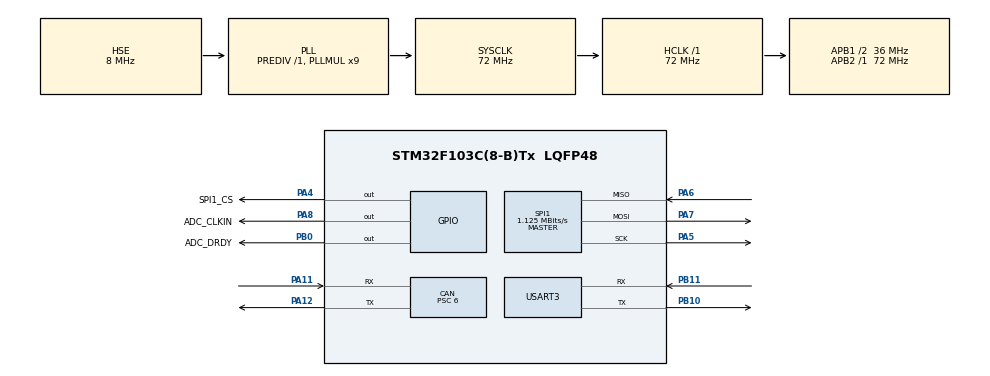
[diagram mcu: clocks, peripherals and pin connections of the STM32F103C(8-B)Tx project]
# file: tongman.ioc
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CAN.BS1=CAN_BS1_9TQ
CAN.BS2=CAN_BS2_2TQ
CAN.CalculateBaudRate=499999
CAN.CalculateTimeBit=2000
CAN.CalculateTimeQuantum=166.66666666666669
CAN.Prescaler=6
Mcu.Family=STM32F1
Mcu.Name=STM32F103C(8-B)Tx
Mcu.Package=LQFP48
NVIC.PriorityGroup=NVIC_PRIORITYGROUP_4
NVIC.TIM2_IRQn=true\:0\:0\:false\:false\:true\:true\:true\:true
NVIC.USB_LP_CAN1_RX0_IRQn=true\:0\:0\:false\:false\:true\:true\:true\:true
PA11.Mode=CAN_Activate
PA11.Signal=CAN_RX
PA12.Mode=CAN_Activate
PA12.Signal=CAN_TX
PA13.Mode=Serial_Wire
PA13.Signal=SYS_JTMS-SWDIO
PA14.Mode=Serial_Wire
PA14.Signal=SYS_JTCK-SWCLK
PA4.GPIO_Label=SPI1_CS
PA4.GPIO_Speed=GPIO_SPEED_FREQ_HIGH
PA4.Signal=GPIO_Output
PA5.Mode=Full_Duplex_Master
PA5.Signal=SPI1_SCK
PA6.Mode=Full_Duplex_Master
PA6.Signal=SPI1_MISO
PA7.Mode=Full_Duplex_Master
PA7.Signal=SPI1_MOSI
PA8.GPIO_Label=ADC_CLKIN
PA8.GPIO_Speed=GPIO_SPEED_FREQ_HIGH
PA8.Signal=GPIO_Output
PB0.GPIO_Label=ADC_DRDY
PB0.GPIO_Speed=GPIO_SPEED_FREQ_HIGH
PB0.Signal=GPIO_Output
PB10.Mode=Asynchronous
PB10.Signal=USART3_TX
PB11.Mode=Asynchronous
PB11.Signal=USART3_RX
PD0-OSC_IN.Mode=HSE-External-Oscillator
PD0-OSC_IN.Signal=RCC_OSC_IN
PD1-OSC_OUT.Mode=HSE-External-Oscillator
PD1-OSC_OUT.Signal=RCC_OSC_OUT
ProjectManager.HeapSize=0x200
ProjectManager.StackSize=0x400
ProjectManager.TargetToolchain=STM32CubeIDE
RCC.AHBFreq_Value=72000000
RCC.APB1CLKDivider=RCC_HCLK_DIV2
RCC.APB1Freq_Value=36000000
RCC.APB1TimFreq_Value=72000000
RCC.APB2Freq_Value=72000000
RCC.APB2TimFreq_Value=72000000
RCC.HCLKFreq_Value=72000000
RCC.PLLMUL=RCC_PLL_MUL9
RCC.PLLSourceVirtual=RCC_PLLSOURCE_HSE
RCC.SYSCLKFreq_VALUE=72000000
RCC.SYSCLKSource=RCC_SYSCLKSOURCE_PLLCLK
RCC.USBFreq_Value=72000000
SPI1.BaudRatePrescaler=SPI_BAUDRATEPRESCALER_64
SPI1.CLKPhase=SPI_PHASE_2EDGE
SPI1.CLKPolarity=SPI_POLARITY_HIGH
SPI1.CalculateBaudRate=1.125 MBits/s
SPI1.Direction=SPI_DIRECTION_2LINES
SPI1.Mode=SPI_MODE_MASTER
SPI1.VirtualType=VM_MASTER
TIM2.Period=1000-1
TIM2.Prescaler=72-1
USART3.VirtualMode=VM_ASYNC
VP_TIM2_VS_ClockSourceINT.Mode=Internal
board=custom

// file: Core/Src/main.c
/* USER CODE BEGIN Header */
/**
  ******************************************************************************
  * @file           : main.c
  * @brief          : Main program body
  ******************************************************************************
  * @attention
  *
  * Copyright (c) 2025 STMicroelectronics.
  * All rights reserved.
  *
  * This software is licensed under terms that can be found in the LICENSE file
  * in the root directory of this software component.
  * If no LICENSE file comes with this software, it is provided AS-IS.
  *
  ******************************************************************************
  */
/* USER CODE END Header */
#include "main.h"
#include "can.h"
#include "spi.h"
#include "tim.h"
#include "usart.h"
#include "gpio.h"

/* USER CODE BEGIN Includes */
#include "lha7668.h"
#include "filter.h"
#include "flash.h"
#include "function.h"

/* USER CODE END Includes */

/* USER CODE BEGIN PD */
#define ADC_SAMPLING_RATE   3

#define APPINFO_VERSION (uint8_t*)"v0.1.2"
#define APPINFO_BUILD_DATE (uint8_t*)"2026-04-29"

/* USER CODE END PD */

/* USER CODE BEGIN PV */
lhl_lha7668_ctx_t lha7668_ctx = { }; // LHA7668驱动句柄

/* Being externally cited variables */
uint8_t data_flag = 0;
uint8_t rev_data[29] = { 0 };

/* USER CODE END PV */

void SystemClock_Config(void);

/* USER CODE BEGIN 0 */
void LHA7668_Platform_Init(void *handle)
{
  lhl_lha7668_ctx_t *dev_ctx = (lhl_lha7668_ctx_t *)handle;
  dev_ctx->io.cs.port = GPIOA;
  dev_ctx->io.cs.pin = GPIO_PIN_4;
}

void LHA7668_Platform_Set(const void *port, const uint32_t pin)
{
  HAL_GPIO_WritePin((GPIO_TypeDef *)port, pin, GPIO_PIN_SET);
}

void LHA7668_Platform_Reset(const void *port, const uint32_t pin)
{
  HAL_GPIO_WritePin((GPIO_TypeDef *)port, pin, GPIO_PIN_RESET);
}

int32_t LHA7668_Platform_ReadWrite(uint8_t *txdata, uint8_t *rxdata, const uint16_t size)
{
  HAL_SPI_TransmitReceive(&hspi1, txdata, rxdata, size, 0xFFFF);

  return 0;
}

float adcData(void)
{
    LHL_LHA7668_Start(&lha7668_ctx, LHA7668_MODE_SINGLE_SHOT);

    while (LHL_LHA7668_Get_Flag(&lha7668_ctx, LHA7668_STATUS_RDY_FLAG) == LHA7668_SET);

    LHL_LHA7668_Get_Data(&lha7668_ctx);

    return LHL_LHA7668_Get_mVoltage(lha7668_ctx.data, LHA7668_BIPOLAR, LHA7668_PGA_X128, 2500);
}

void lha7668_init(uint8_t rate)
{
    LHL_LHA7668_Init(&lha7668_ctx);
    LHL_LHA7668_Reset(&lha7668_ctx);

    uint8_t whoamI = LHL_LHA7668_Get_ID(&lha7668_ctx);
    if (whoamI != LHA7668B_8) {
        printf("Equipment error!\n");
        while(1) {
        }
    }

    LHL_LHA7668_Stop(&lha7668_ctx);

    lha7668_ctx.CHANNEL.ENABLE = LHA7668_ENABLE;
    lha7668_ctx.CHANNEL.SETUP = LHA7668_SETUP_0;
    lha7668_ctx.CHANNEL.AINP = LHA7668_AIN0;
    lha7668_ctx.CHANNEL.AINM = LHA7668_AIN1;
    LHL_LHA7668_Set_Channel(&lha7668_ctx, LHA7668_CHANNEL_0);
    lha7668_ctx.CHANNEL.ENABLE = LHA7668_ENABLE;
    lha7668_ctx.CHANNEL.SETUP = LHA7668_SETUP_0;
    lha7668_ctx.CHANNEL.AINP = LHA7668_AIN2;
    lha7668_ctx.CHANNEL.AINM = LHA7668_AIN3;
    LHL_LHA7668_Set_Channel(&lha7668_ctx, LHA7668_CHANNEL_1);
    lha7668_ctx.CHANNEL.ENABLE = LHA7668_ENABLE;
    lha7668_ctx.CHANNEL.SETUP = LHA7668_SETUP_0;
    lha7668_ctx.CHANNEL.AINP = LHA7668_AIN4;
    lha7668_ctx.CHANNEL.AINM = LHA7668_AIN5;
    LHL_LHA7668_Set_Channel(&lha7668_ctx, LHA7668_CHANNEL_2);

    lha7668_ctx.SETUP.BIPOLAR = LHA7668_BIPOLAR;
    lha7668_ctx.SETUP.AIN_BUFP = LHA7668_ENABLE;
    lha7668_ctx.SETUP.AIN_BUFM = LHA7668_ENABLE;
    lha7668_ctx.SETUP.REF_SEL = LHA7668_REF_REFIN1;
    lha7668_ctx.SETUP.REF_BUFP = LHA7668_DISABLE;
    lha7668_ctx.SETUP.REF_BUFM = LHA7668_DISABLE;
    lha7668_ctx.SETUP.PGA = LHA7668_PGA_X128;
    lha7668_ctx.SETUP.FILTER = LHA7668_FILTER_SINC3;
    lha7668_ctx.SETUP.FS = rate;
    LHL_LHA7668_Set_Setup(&lha7668_ctx, LHA7668_SETUP_0);
    LHL_LHA7668_Set_Setup(&lha7668_ctx, LHA7668_SETUP_1);
    LHL_LHA7668_Set_Setup(&lha7668_ctx, LHA7668_SETUP_2);
    lha7668_ctx.ADC_CTRL.POWER_MODE = LHA7668_FULL_POWER;
    lha7668_ctx.ADC_CTRL.CLK_SEL = LHA7668_CLK_INTL;
    lha7668_ctx.ADC_CTRL.DATA_STATUS = LHA7668_ENABLE;
    lha7668_ctx.ADC_CTRL.CS_EN = LHA7668_DISABLE;
    lha7668_ctx.ADC_CTRL.DOUT_RDY_DEL = LHA7668_DISABLE;
    LHL_LHA7668_Set_ADC(&lha7668_ctx);
}

/* USER CODE END 0 */

int main(void)
{

  /* MCU Configuration--------------------------------------------------------*/

  /* Reset of all peripherals, Initializes the Flash interface and the Systick. */
  HAL_Init();

  /* Configure the system clock */
  SystemClock_Config();

  /* Initialize all configured peripherals */
  MX_GPIO_Init();
  MX_TIM2_Init();
  MX_SPI1_Init();
  MX_CAN_Init();
  MX_USART3_UART_Init();
  /* USER CODE BEGIN 2 */

    lha7668_init(ADC_SAMPLING_RATE);
    FloatFilter_Init();
    configure_CAN_filter();
    CAN_Wheel_Init();
    HAL_CAN_Start(&hcan);
    HAL_CAN_ActivateNotification(&hcan, CAN_IT_RX_FIFO0_MSG_PENDING); //开启接收中断
    HAL_TIM_Base_Start_IT(&htim2);

    zero_clearing();

  /* USER CODE END 2 */

  /* Infinite loop */
  /* USER CODE BEGIN WHILE */
    while (1) {
    	send_ret();
    	HAL_Delay(500);
    /* USER CODE END WHILE */

    }
}

void SystemClock_Config(void)
{
  RCC_OscInitTypeDef RCC_OscInitStruct = {0};
  RCC_ClkInitTypeDef RCC_ClkInitStruct = {0};

  /** Initializes the RCC Oscillators according to the specified parameters
  * in the RCC_OscInitTypeDef structure.
  */
  RCC_OscInitStruct.OscillatorType = RCC_OSCILLATORTYPE_HSE;
  RCC_OscInitStruct.HSEState = RCC_HSE_ON;
  RCC_OscInitStruct.HSEPredivValue = RCC_HSE_PREDIV_DIV1;
  RCC_OscInitStruct.HSIState = RCC_HSI_ON;
  RCC_OscInitStruct.PLL.PLLState = RCC_PLL_ON;
  RCC_OscInitStruct.PLL.PLLSource = RCC_PLLSOURCE_HSE;
  RCC_OscInitStruct.PLL.PLLMUL = RCC_PLL_MUL9;
  if (HAL_RCC_OscConfig(&RCC_OscInitStruct) != HAL_OK)
  {
    Error_Handler();
  }

  /** Initializes the CPU, AHB and APB buses clocks
  */
  RCC_ClkInitStruct.ClockType = RCC_CLOCKTYPE_HCLK|RCC_CLOCKTYPE_SYSCLK
                              |RCC_CLOCKTYPE_PCLK1|RCC_CLOCKTYPE_PCLK2;
  RCC_ClkInitStruct.SYSCLKSource = RCC_SYSCLKSOURCE_PLLCLK;
  RCC_ClkInitStruct.AHBCLKDivider = RCC_SYSCLK_DIV1;
  RCC_ClkInitStruct.APB1CLKDivider = RCC_HCLK_DIV2;
  RCC_ClkInitStruct.APB2CLKDivider = RCC_HCLK_DIV1;

  if (HAL_RCC_ClockConfig(&RCC_ClkInitStruct, FLASH_LATENCY_2) != HAL_OK)
  {
    Error_Handler();
  }
}

void Error_Handler(void)
{
  __disable_irq();
  while (1)
  {
  }
}
